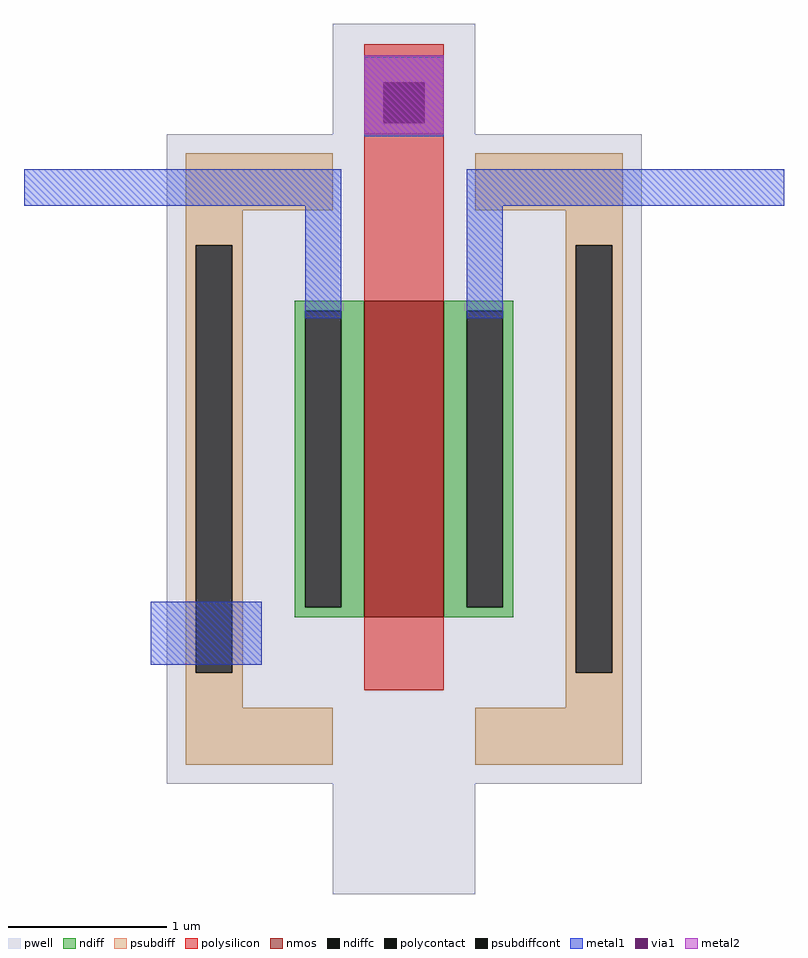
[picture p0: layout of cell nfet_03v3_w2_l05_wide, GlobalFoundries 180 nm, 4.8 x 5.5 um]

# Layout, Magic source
magic
tech gf180mcuD
magscale 1 10
<< pwell >>
rect -300 -410 300 410
rect -90 200 90 550
rect -90 -550 90 -200
<< nmos >>
rect -50 -200 50 200
<< ndiff >>
rect -138 187 -50 200
rect -138 -187 -125 187
rect -79 -187 -50 187
rect -138 -200 -50 -187
rect 50 187 138 200
rect 50 -187 79 187
rect 125 -187 138 187
rect 50 -200 138 -187
<< ndiffc >>
rect -125 -187 -79 187
rect 79 -187 125 187
<< psubdiff >>
rect -276 270 -204 314
rect -276 -270 -263 270
rect -217 -270 -204 270
rect 204 270 276 314
rect -276 -314 -204 -270
rect 204 -270 217 270
rect 263 -270 276 270
rect 204 -314 276 -270
rect -276 314 -90 386
rect 90 314 276 386
rect -276 -386 -90 -314
rect 90 -386 276 -314
<< psubdiffcont >>
rect -263 -270 -217 270
rect 217 -270 263 270
<< polysilicon >>
rect -50 -292 50 524
<< polycontact >>
rect -26 424 26 476
<< metal1 >>
rect -50 408 50 508
rect 79 178 125 320
rect 79 320 480 366
rect -125 178 -79 320
rect -480 320 -79 366
rect -320 -260 -180 -180
<< via1 >>
rect -26 424 26 476
<< metal2 >>
rect -50 410 50 510
<< properties >>
<< end >>
